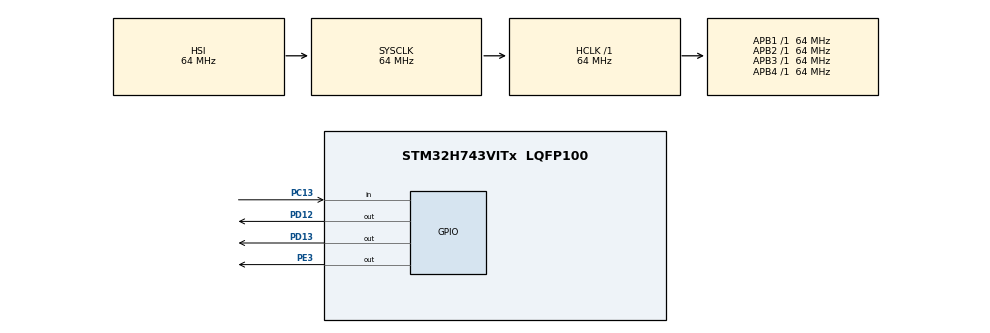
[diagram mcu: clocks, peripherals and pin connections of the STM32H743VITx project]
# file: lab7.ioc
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CORTEX_M7.default_mode_Activation=1
FREERTOS.Tasks01=defaultTask,0,128,StartDefaultTask,Default,NULL,Dynamic,NULL,NULL
FREERTOS.configUSE_NEWLIB_REENTRANT=1
Mcu.Family=STM32H7
Mcu.Name=STM32H743VITx
Mcu.Package=LQFP100
NVIC.PriorityGroup=NVIC_PRIORITYGROUP_4
NVIC.TIM6_DAC_IRQn=true\:15\:0\:false\:false\:true\:false\:false\:true\:true
NVIC.TimeBase=TIM6_DAC_IRQn
NVIC.TimeBaseIP=TIM6
PC13.GPIO_PuPd=GPIO_PULLDOWN
PC13.Signal=GPIO_Input
PD12.Signal=GPIO_Output
PD13.Signal=GPIO_Output
PE3.Signal=GPIO_Output
ProjectManager.HeapSize=0x200
ProjectManager.StackSize=0x400
ProjectManager.TargetToolchain=STM32CubeIDE
RCC.ADCFreq_Value=129000000
RCC.APB1Freq_Value=64000000
RCC.APB2Freq_Value=64000000
RCC.APB3Freq_Value=64000000
RCC.APB4Freq_Value=64000000
RCC.CortexFreq_Value=64000000
RCC.HCLKFreq_Value=64000000
RCC.SYSCLKFreq_VALUE=64000000
RCC.USBFreq_Value=129000000
VP_FREERTOS_VS_CMSIS_V1.Mode=CMSIS_V1
VP_MEMORYMAP_VS_MEMORYMAP.Mode=CurAppReg
VP_SYS_VS_tim6.Mode=TIM6
board=custom

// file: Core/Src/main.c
/* USER CODE BEGIN Header */
/**
  ******************************************************************************
  * @file           : main.c
  * @brief          : Main program body
  ******************************************************************************
  * @attention
  *
  * Copyright (c) 2026 STMicroelectronics.
  * All rights reserved.
  *
  * This software is licensed under terms that can be found in the LICENSE file
  * in the root directory of this software component.
  * If no LICENSE file comes with this software, it is provided AS-IS.
  *
  ******************************************************************************
  */
/* USER CODE END Header */
#include "main.h"
#include "cmsis_os.h"

osThreadId defaultTaskHandle;
/* USER CODE BEGIN PV */
volatile uint32_t pd12_pulse_duration = 400; // Глобальна змінна для керування імпульсом PD12 (старт з 400 мс)
/* USER CODE END PV */

void SystemClock_Config(void);
static void MPU_Config(void);
static void MX_GPIO_Init(void);
void StartDefaultTask(void const * argument);

/* USER CODE BEGIN PFP */
// Прототипи функцій-потоків
void LedTask1(void *argument);
void LedTask2(void *argument);
void LedTask3(void *argument);
void ButtonTask(void *argument);
/* USER CODE END PFP */

int main(void)
{

  /* MPU Configuration--------------------------------------------------------*/
  MPU_Config();

  /* MCU Configuration--------------------------------------------------------*/

  /* Reset of all peripherals, Initializes the Flash interface and the Systick. */
  HAL_Init();

  /* Configure the system clock */
  SystemClock_Config();

  /* Initialize all configured peripherals */
  MX_GPIO_Init();
  /* USER CODE BEGIN 2 */
  xTaskCreate(LedTask1,   "LED_PD13", 128, NULL, 1, NULL);
  xTaskCreate(LedTask2,   "LED_PD14", 128, NULL, 1, NULL);
  xTaskCreate(LedTask3,   "LED_PE3", 128, NULL, 1, NULL);
  xTaskCreate(ButtonTask, "BTN_PC13", 128, NULL, 2, NULL); // вищий пріоритет
  vTaskStartScheduler();// Запуск планувальника FreeRTOS (Scheduler)
  /* USER CODE END 2 */

  /* Create the thread(s) */
  /* definition and creation of defaultTask */
  osThreadDef(defaultTask, StartDefaultTask, osPriorityNormal, 0, 128);
  defaultTaskHandle = osThreadCreate(osThread(defaultTask), NULL);

  /* Start scheduler */
  osKernelStart();

  /* We should never get here as control is now taken by the scheduler */

  /* Infinite loop */
  while (1)
  {

  }
}

void SystemClock_Config(void)
{
  RCC_OscInitTypeDef RCC_OscInitStruct = {0};
  RCC_ClkInitTypeDef RCC_ClkInitStruct = {0};

  /** Supply configuration update enable
  */
  HAL_PWREx_ConfigSupply(PWR_LDO_SUPPLY);

  /** Configure the main internal regulator output voltage
  */
  __HAL_PWR_VOLTAGESCALING_CONFIG(PWR_REGULATOR_VOLTAGE_SCALE3);

  while(!__HAL_PWR_GET_FLAG(PWR_FLAG_VOSRDY)) {}

  /** Initializes the RCC Oscillators according to the specified parameters
  * in the RCC_OscInitTypeDef structure.
  */
  RCC_OscInitStruct.OscillatorType = RCC_OSCILLATORTYPE_HSI;
  RCC_OscInitStruct.HSIState = RCC_HSI_DIV1;
  RCC_OscInitStruct.HSICalibrationValue = RCC_HSICALIBRATION_DEFAULT;
  RCC_OscInitStruct.PLL.PLLState = RCC_PLL_NONE;
  if (HAL_RCC_OscConfig(&RCC_OscInitStruct) != HAL_OK)
  {
    Error_Handler();
  }

  /** Initializes the CPU, AHB and APB buses clocks
  */
  RCC_ClkInitStruct.ClockType = RCC_CLOCKTYPE_HCLK|RCC_CLOCKTYPE_SYSCLK
                              |RCC_CLOCKTYPE_PCLK1|RCC_CLOCKTYPE_PCLK2
                              |RCC_CLOCKTYPE_D3PCLK1|RCC_CLOCKTYPE_D1PCLK1;
  RCC_ClkInitStruct.SYSCLKSource = RCC_SYSCLKSOURCE_HSI;
  RCC_ClkInitStruct.SYSCLKDivider = RCC_SYSCLK_DIV1;
  RCC_ClkInitStruct.AHBCLKDivider = RCC_HCLK_DIV1;
  RCC_ClkInitStruct.APB3CLKDivider = RCC_APB3_DIV1;
  RCC_ClkInitStruct.APB1CLKDivider = RCC_APB1_DIV1;
  RCC_ClkInitStruct.APB2CLKDivider = RCC_APB2_DIV1;
  RCC_ClkInitStruct.APB4CLKDivider = RCC_APB4_DIV1;

  if (HAL_RCC_ClockConfig(&RCC_ClkInitStruct, FLASH_LATENCY_1) != HAL_OK)
  {
    Error_Handler();
  }
}

static void MX_GPIO_Init(void)
{
  GPIO_InitTypeDef GPIO_InitStruct = {0};

  /* GPIO Ports Clock Enable */
  __HAL_RCC_GPIOE_CLK_ENABLE();
  __HAL_RCC_GPIOC_CLK_ENABLE();
  __HAL_RCC_GPIOD_CLK_ENABLE();

  /*Configure GPIO pin Output Level */
  HAL_GPIO_WritePin(GPIOE, GPIO_PIN_3, GPIO_PIN_RESET);

  /*Configure GPIO pin Output Level */
  HAL_GPIO_WritePin(GPIOD, GPIO_PIN_12|GPIO_PIN_13, GPIO_PIN_RESET);

  /*Configure GPIO pin : PE3 */
  GPIO_InitStruct.Pin = GPIO_PIN_3;
  GPIO_InitStruct.Mode = GPIO_MODE_OUTPUT_PP;
  GPIO_InitStruct.Pull = GPIO_NOPULL;
  GPIO_InitStruct.Speed = GPIO_SPEED_FREQ_LOW;
  HAL_GPIO_Init(GPIOE, &GPIO_InitStruct);

  /*Configure GPIO pin : PC13 */
  GPIO_InitStruct.Pin = GPIO_PIN_13;
  GPIO_InitStruct.Mode = GPIO_MODE_INPUT;
  GPIO_InitStruct.Pull = GPIO_PULLDOWN;
  HAL_GPIO_Init(GPIOC, &GPIO_InitStruct);

  /*Configure GPIO pins : PD12 PD13 */
  GPIO_InitStruct.Pin = GPIO_PIN_12|GPIO_PIN_13;
  GPIO_InitStruct.Mode = GPIO_MODE_OUTPUT_PP;
  GPIO_InitStruct.Pull = GPIO_NOPULL;
  GPIO_InitStruct.Speed = GPIO_SPEED_FREQ_LOW;
  HAL_GPIO_Init(GPIOD, &GPIO_InitStruct);

}

/* USER CODE BEGIN 4 */
// Потік 1: Керування PD13 (50 Гц або змінений період)
void LedTask1(void *argument) {
  for (;;) {
    HAL_GPIO_WritePin(GPIOD, GPIO_PIN_12, GPIO_PIN_SET);
    // Світимо задану кількість часу (400 або 1000 мс)
    vTaskDelay(pd12_pulse_duration / portTICK_PERIOD_MS);

    HAL_GPIO_WritePin(GPIOD, GPIO_PIN_12, GPIO_PIN_RESET);

    // Обчислюємо залишок часу до кінця періоду в 1000 мс
    uint32_t pause = 1000 - pd12_pulse_duration;
    if (pause > 0) {
        vTaskDelay(pause / portTICK_PERIOD_MS);
    }
  }
}

// Потік 2: Керування PD13 (0.25 Гц, період 4000 мс)
void LedTask2(void *argument) {
  for (;;) {
    HAL_GPIO_WritePin(GPIOD, GPIO_PIN_13, GPIO_PIN_SET);
    vTaskDelay(1000 / portTICK_PERIOD_MS); // Імпульс 1 с (1000 мс)

    HAL_GPIO_WritePin(GPIOD, GPIO_PIN_13, GPIO_PIN_RESET);
    vTaskDelay(3000 / portTICK_PERIOD_MS); // Пауза 3 с (3000 мс)
  }
}

// Потік 3: Керування PD15 (10 Гц -> період 100 мс)
void LedTask3(void *argument) {
  for (;;) {
    HAL_GPIO_WritePin(GPIOE, GPIO_PIN_3, GPIO_PIN_SET);
    vTaskDelay(2000 / portTICK_PERIOD_MS); // Імпульс 2 с (2000 мс)

    HAL_GPIO_WritePin(GPIOE, GPIO_PIN_3, GPIO_PIN_RESET);
    vTaskDelay(8000 / portTICK_PERIOD_MS); // Пауза 8 с (8000 мс)
  }
}

// Потік 4: Обробка кнопки
void ButtonTask(void *argument) {
  for (;;) {
    // Перевіряємо натискання (активний SET, якщо Pull-Down, або RESET, якщо Pull-Up)
    if (HAL_GPIO_ReadPin(GPIOC, GPIO_PIN_13) == GPIO_PIN_SET) {

      // Перемикаємо тривалість імпульсу для PD12
      if (pd12_pulse_duration == 400) {
          pd12_pulse_duration = 1000;
      } else {
          pd12_pulse_duration = 400;
      }

      // Засипаємо на 300 мс (програмний антибрязкіт)
      vTaskDelay(300 / portTICK_PERIOD_MS);
    }

    // Фонова перевірка кожні 20 мс
    vTaskDelay(20 / portTICK_PERIOD_MS);
  }
}
/* USER CODE END 4 */

void StartDefaultTask(void const * argument)
{
  for(;;)
  {
    osDelay(1);
  }
}

 /* MPU Configuration */

void MPU_Config(void)
{
  MPU_Region_InitTypeDef MPU_InitStruct = {0};

  /* Disables the MPU */
  HAL_MPU_Disable();

  /** Initializes and configures the Region and the memory to be protected
  */
  MPU_InitStruct.Enable = MPU_REGION_ENABLE;
  MPU_InitStruct.Number = MPU_REGION_NUMBER0;
  MPU_InitStruct.BaseAddress = 0x0;
  MPU_InitStruct.Size = MPU_REGION_SIZE_4GB;
  MPU_InitStruct.SubRegionDisable = 0x87;
  MPU_InitStruct.TypeExtField = MPU_TEX_LEVEL0;
  MPU_InitStruct.AccessPermission = MPU_REGION_NO_ACCESS;
  MPU_InitStruct.DisableExec = MPU_INSTRUCTION_ACCESS_DISABLE;
  MPU_InitStruct.IsShareable = MPU_ACCESS_SHAREABLE;
  MPU_InitStruct.IsCacheable = MPU_ACCESS_NOT_CACHEABLE;
  MPU_InitStruct.IsBufferable = MPU_ACCESS_NOT_BUFFERABLE;

  HAL_MPU_ConfigRegion(&MPU_InitStruct);
  /* Enables the MPU */
  HAL_MPU_Enable(MPU_PRIVILEGED_DEFAULT);

}

void HAL_TIM_PeriodElapsedCallback(TIM_HandleTypeDef *htim)
{
  if (htim->Instance == TIM6)
  {
    HAL_IncTick();
  }
}

void Error_Handler(void)
{
  __disable_irq();
  while (1)
  {
  }
}
